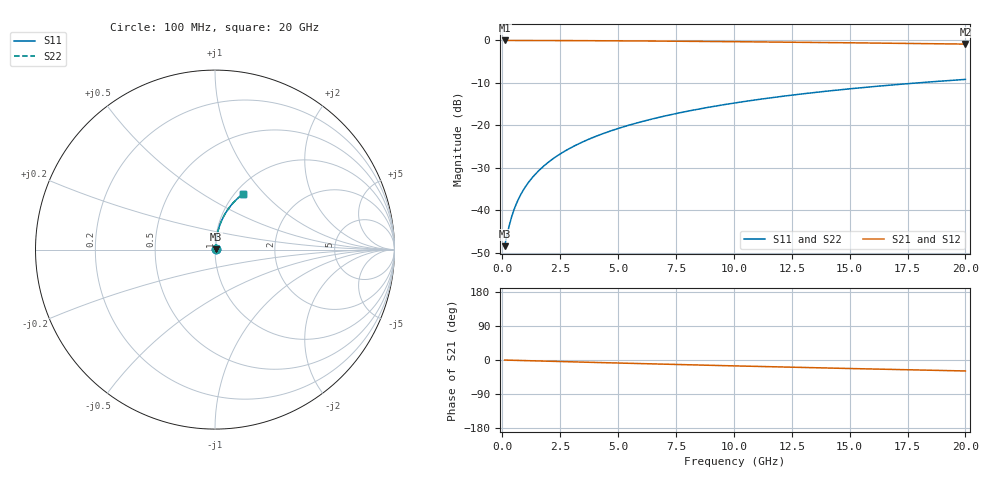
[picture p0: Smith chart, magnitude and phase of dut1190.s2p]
! Touchstone file exported from HFSS 2024.1.0
!  File:  C:/UserFiles/LocalFiles/RDL_TSV_Batchsim/temp_RDL_top_1190_1780049563.aedt
!  Generated:  06:14:46 PM May 29, 2026
!  Design:  RDL_top
!  Project:  temp_RDL_top_1190_1780049563
!  Setup:  Setup1
!  Solution:  Sweep
! Variables:
!  dtsv = 10.80580581um
!  hbump = 3um
!  htsv = 75.64um
!  ldown = 100um
!  lrdl = 352.46um
!  p = 40
!  p1 = 44.79um
!  rhole = 1um
!  t = 450um
!  tdown = 3.915915916um
!  trdl = 3.18um
!  wdown = 15.38538539um
!  wrdl = 12.58um
# GHz S MA R 50.000000
! Terminal data exported
! Port[1] = Box2_T1
! Port[2] = Box2_T2
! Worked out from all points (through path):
!   200 points, 100 MHz to 20 GHz, reference 50 ohm
!   highest |S21| = -0.03 dB at 100 MHz (marker M1); lowest = -0.9 dB at 20 GHz (marker M2)
!   group delay of S21, straight-line fit = 4.02 ps
!   lowest |S11| = -48.5 dB at 100 MHz (marker M3), VSWR 1.01, Z = 50.3 + j0.192 ohm
!   |S11| at or under -10 dB: start of sweep to 17.98 GHz
!   |S22| runs from -48.5 to -9.2 dB; largest |S21 - S12| = 3.3e-15
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0.1  0.003771 30.4  0.9967 -0.2  0.9967 -0.2  0.003771 30.4
! Gamma 0 0 0 0
! Port Impedance 50 0 50 0
0.3  0.006607 59.3  0.9966 -0.5  0.9966 -0.5  0.006607 59.3
0.4  0.008294 65.3  0.9965 -0.7  0.9965 -0.7  0.008294 65.3
0.5  0.01003 69.2  0.9964 -0.8  0.9964 -0.8  0.01003 69.2
0.6  0.01178 72.0  0.9963 -1.0  0.9963 -1.0  0.01178 72.0
0.8  0.01532 75.5  0.9961 -1.3  0.9961 -1.3  0.01532 75.5
1.1  0.02067 78.5  0.9958 -1.8  0.9958 -1.8  0.02067 78.5
1.3  0.02426 79.7  0.9956 -2.1  0.9956 -2.1  0.02426 79.7
1.6  0.02966 80.9  0.9952 -2.6  0.9952 -2.6  0.02966 80.9
2.1  0.03871 81.9  0.9945 -3.4  0.9945 -3.4  0.03871 81.9
2.7  0.04961 82.4  0.9933 -4.4  0.9933 -4.4  0.04961 82.4
3.5  0.0642 82.4  0.9914 -5.6  0.9914 -5.6  0.0642 82.4
4.2  0.07699 82.1  0.9895 -6.8  0.9895 -6.8  0.07699 82.1
5  0.09163 81.5  0.9868 -8.0  0.9868 -8.0  0.09163 81.5
5.9  0.1081 80.7  0.9835 -9.4  0.9835 -9.4  0.1081 80.7
6.8  0.1246 79.8  0.9798 -10.8  0.9798 -10.8  0.1246 79.8
8.3  0.1518 78.1  0.973 -13.0  0.973 -13.0  0.1518 78.1
10.1  0.1842 75.9  0.9638 -15.6  0.9638 -15.6  0.1842 75.9
11.7  0.2124 73.9  0.9551 -17.9  0.9551 -17.9  0.2124 73.9
13.4  0.2417 71.7  0.9453 -20.3  0.9453 -20.3  0.2417 71.7
16.7  0.2961 67.4  0.9249 -24.7  0.9249 -24.7  0.2961 67.4
20  0.3468 63.2  0.9034 -29.0  0.9034 -29.0  0.3468 63.2
